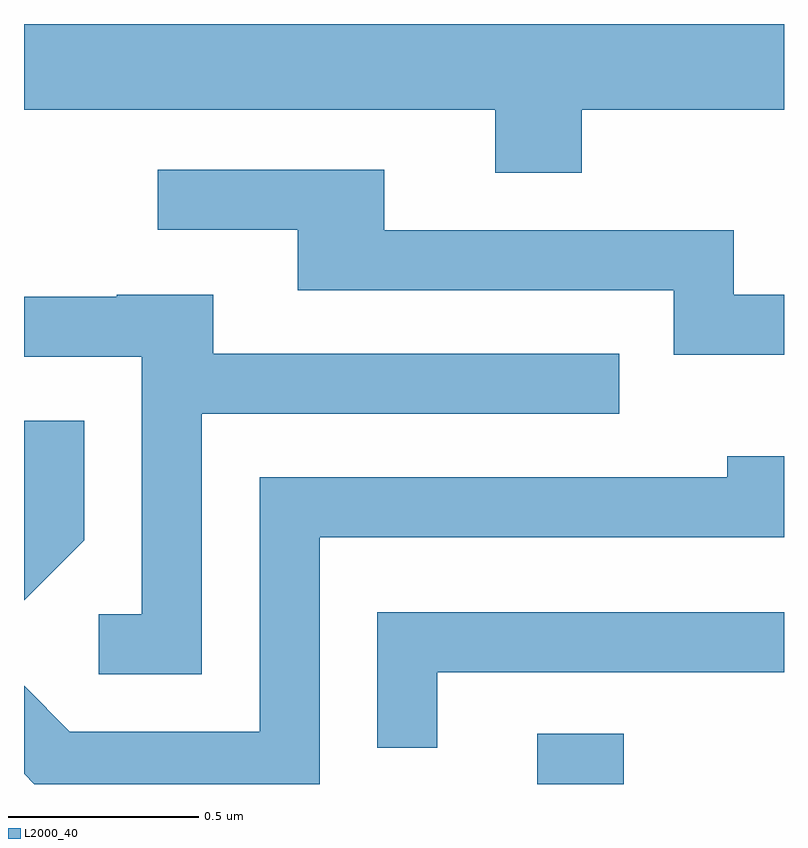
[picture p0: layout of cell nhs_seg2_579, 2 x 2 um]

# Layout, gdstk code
import gdstk
lib = gdstk.Library(unit=1e-6, precision=1e-09)
def R(c, l, rs):  # rectangles x0, y0, x1, y1
    for r in rs: c.add(gdstk.rectangle(r[:2], r[2:], *l))
def P(c, l, *ps):  # polygons
    for p in ps: c.add(gdstk.Polygon(p, *l))
L2000_40 = (2000, 40)

nhs_seg2_579 = lib.new_cell('nhs_seg2_579')
R(nhs_seg2_579, L2000_40, [(190.961,1008.802,191.189,1008.934)])
P(nhs_seg2_579, L2000_40, [(191.079,1010.576),(191.611,1010.576),(191.611,1010.802),(189.611,1010.802),(189.611,1010.576),(190.851,1010.576),(190.851,1010.411),(191.079,1010.411)],
  [(191.611,1010.089),(191.479,1010.089),(191.479,1010.259),(190.559,1010.259),(190.559,1010.419),(189.963,1010.419),(189.963,1010.261),(190.331,1010.261),(190.331,1010.101),(191.321,1010.101),(191.321,1009.931),(191.611,1009.931)],
  [(190.079,1009.776),(191.178,1009.776),(191.178,1009.934),(190.109,1009.934),(190.109,1010.089),(189.855,1010.089),(189.855,1010.084),(189.611,1010.084),(189.611,1009.926),(189.921,1009.926),(189.921,1009.249),(189.808,1009.249),(189.808,1009.091),(190.079,1009.091)],
  [(189.769,1009.444),(189.769,1009.758),(189.611,1009.758),(189.611,1009.285)],
  [(190.389,1009.451),(191.611,1009.451),(191.611,1009.664),(191.461,1009.664),(191.461,1009.609),(190.231,1009.609),(190.231,1008.939),(189.732,1008.939),(189.611,1009.06),(189.611,1008.829),(189.638,1008.802),(190.389,1008.802)],
  [(190.699,1009.096),(191.611,1009.096),(191.611,1009.254),(190.541,1009.254),(190.541,1008.898),(190.699,1008.898)])

lib.write_gds('nhs_seg2_579.gds')
